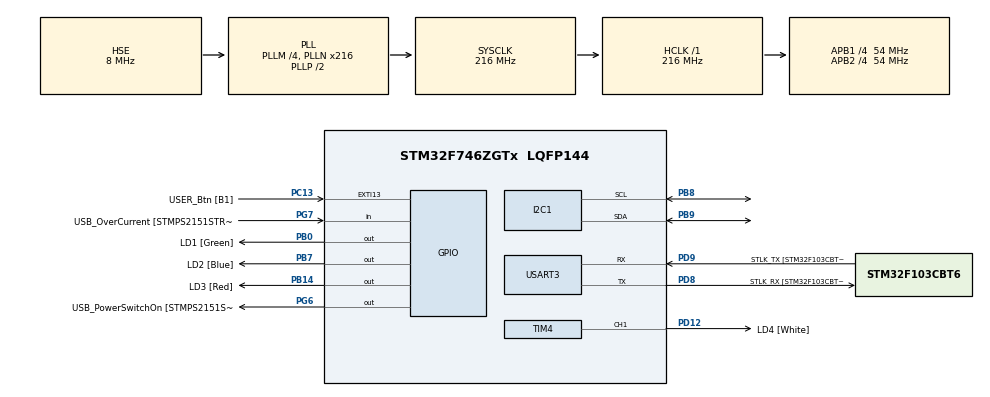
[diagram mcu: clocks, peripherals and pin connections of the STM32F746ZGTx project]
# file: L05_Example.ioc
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I2C1.Timing=0x20404768
Mcu.Family=STM32F7
Mcu.Name=STM32F746ZGTx
Mcu.Package=LQFP144
NVIC.PriorityGroup=NVIC_PRIORITYGROUP_4
NVIC.USART3_IRQn=true\:0\:0\:false\:false\:true\:true\:true\:true
PA1.GPIO_Label=RMII_REF_CLK [LAN8742A-CZ-TR_REFCLK0]
PA1.Signal=ETH_REF_CLK
PA10.GPIO_Label=USB_ID
PA10.Signal=USB_OTG_FS_ID
PA11.GPIO_Label=USB_DM
PA11.Signal=USB_OTG_FS_DM
PA12.GPIO_Label=USB_DP
PA12.Signal=USB_OTG_FS_DP
PA13.GPIO_Label=TMS
PA13.Mode=Serial_Wire
PA13.Signal=SYS_JTMS-SWDIO
PA14.GPIO_Label=TCK
PA14.Mode=Serial_Wire
PA14.Signal=SYS_JTCK-SWCLK
PA2.GPIO_Label=RMII_MDIO [LAN8742A-CZ-TR_MDIO]
PA2.Signal=ETH_MDIO
PA7.GPIO_Label=RMII_CRS_DV [LAN8742A-CZ-TR_CRS_DV]
PA7.Signal=ETH_CRS_DV
PA8.GPIO_Label=USB_SOF [TP1]
PA8.Signal=USB_OTG_FS_SOF
PA9.GPIO_Label=USB_VBUS
PA9.Signal=USB_OTG_FS_VBUS
PB0.GPIO_Label=LD1 [Green]
PB0.Signal=GPIO_Output
PB13.GPIO_Label=RMII_TXD1 [LAN8742A-CZ-TR_TXD1]
PB13.Signal=ETH_TXD1
PB14.GPIO_Label=LD3 [Red]
PB14.Signal=GPIO_Output
PB3.GPIO_Label=SW0
PB3.Signal=SYS_JTDO-SWO
PB7.GPIO_Label=LD2 [Blue]
PB7.Signal=GPIO_Output
PB8.Mode=I2C
PB8.Signal=I2C1_SCL
PB9.Mode=I2C
PB9.Signal=I2C1_SDA
PC1.GPIO_Label=RMII_MDC [LAN8742A-CZ-TR_MDC]
PC1.Signal=ETH_MDC
PC13.GPIO_Label=USER_Btn [B1]
PC13.Signal=GPXTI13
PC14/OSC32_IN.Mode=LSE-External-Oscillator
PC14/OSC32_IN.Signal=RCC_OSC32_IN
PC15/OSC32_OUT.Mode=LSE-External-Oscillator
PC15/OSC32_OUT.Signal=RCC_OSC32_OUT
PC4.GPIO_Label=RMII_RXD0 [LAN8742A-CZ-TR_RXD0]
PC4.Signal=ETH_RXD0
PC5.GPIO_Label=RMII_RXD1 [LAN8742A-CZ-TR_RXD1]
PC5.Signal=ETH_RXD1
PD12.GPIO_Label=LD4 [White]
PD12.Signal=S_TIM4_CH1
PD8.GPIO_Label=STLK_RX [STM32F103CBT6_PA3]
PD8.GPIO_PuPd=GPIO_PULLUP
PD8.Mode=Asynchronous
PD8.Signal=USART3_TX
PD9.GPIO_Label=STLK_TX [STM32F103CBT6_PA2]
PD9.GPIO_PuPd=GPIO_PULLUP
PD9.Mode=Asynchronous
PD9.Signal=USART3_RX
PG11.GPIO_Label=RMII_TX_EN [LAN8742A-CZ-TR_TXEN]
PG11.Signal=ETH_TX_EN
PG13.GPIO_Label=RMII_TXD0 [LAN8742A-CZ-TR_TXD0]
PG13.Signal=ETH_TXD0
PG6.GPIO_Label=USB_PowerSwitchOn [STMPS2151STR_EN]
PG6.Signal=GPIO_Output
PG7.GPIO_Label=USB_OverCurrent [STMPS2151STR_FAULT]
PG7.Signal=GPIO_Input
PH0/OSC_IN.GPIO_Label=MCO [STM32F103CBT6_PA8]
PH0/OSC_IN.Mode=HSE-External-Clock-Source
PH0/OSC_IN.Signal=RCC_OSC_IN
PH1/OSC_OUT.Mode=HSE-External-Clock-Source
PH1/OSC_OUT.Signal=RCC_OSC_OUT
ProjectManager.HeapSize=0x200
ProjectManager.StackSize=0x400
ProjectManager.TargetToolchain=STM32CubeIDE
RCC.48MHZClocksFreq_Value=24000000
RCC.AHBFreq_Value=216000000
RCC.APB1CLKDivider=RCC_HCLK_DIV4
RCC.APB1Freq_Value=54000000
RCC.APB1TimFreq_Value=108000000
RCC.APB2CLKDivider=RCC_HCLK_DIV4
RCC.APB2Freq_Value=54000000
RCC.APB2TimFreq_Value=108000000
RCC.CortexFreq_Value=216000000
RCC.HCLKFreq_Value=216000000
RCC.HSE_VALUE=8000000
RCC.HSI_VALUE=16000000
RCC.PLLM=4
RCC.PLLMUL=RCC_PLL_MUL9
RCC.PLLN=216
RCC.PLLQ=3
RCC.PLLSourceVirtual=RCC_PLLSOURCE_HSE
RCC.PRESCALERUSB=RCC_USBCLKSOURCE_PLL_DIV1_5
RCC.SYSCLKFreq_VALUE=216000000
RCC.SYSCLKSource=RCC_SYSCLKSOURCE_PLLCLK
RCC.SYSCLKSourceVirtual=RCC_SYSCLKSOURCE_PLLCLK
RCC.USBFreq_Value=144000000
RCC.VCOOutputFreq_Value=432000000
SH.S_TIM4_CH1.0=TIM4_CH1,PWM Generation1 CH1
TIM4.Channel-PWM\ Generation1\ CH1=TIM_CHANNEL_1
TIM4.Period=100 - 1
TIM4.Prescaler=108 - 1
USART3.VirtualMode-Asynchronous=VM_ASYNC
VP_TIM4_VS_ClockSourceINT.Mode=Internal
board=NUCLEO-F746ZG

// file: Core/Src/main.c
/* USER CODE BEGIN Header */
/**
  ******************************************************************************
  * @file           : main.c
  * @brief          : Main program body
  ******************************************************************************
  * @attention
  *
  * Copyright (c) 2025 STMicroelectronics.
  * All rights reserved.
  *
  * This software is licensed under terms that can be found in the LICENSE file
  * in the root directory of this software component.
  * If no LICENSE file comes with this software, it is provided AS-IS.
  *
  ******************************************************************************
  */
/* USER CODE END Header */
#include "main.h"
#include "i2c.h"
#include "tim.h"
#include "usart.h"
#include "gpio.h"

/* USER CODE BEGIN Includes */
#include <stdio.h>
#include <stdlib.h>
#include <string.h>
#include "bh1750_config.h"
#include "led_pwm_config.h"
/* USER CODE END Includes */

/* USER CODE BEGIN PV */
float Illuminance_lux = 0.0f;
unsigned int  Illuminance_mlux = 0;
unsigned int Delay_ms = 200;
char UART_Cmd[] = "X000";
unsigned int UART_CmdLen;
_Bool UART_SendMeasurement;
/* USER CODE END PV */

void SystemClock_Config(void);

/* USER CODE BEGIN 0 */
/**
 * @brief  Low-level implementation of the _write system call.
 *
 * This function redirects standard output (e.g., printf) to UART3.
 * It transmits data from the provided buffer over the UART interface.
 *
 * @param[in]  file File descriptor (ignored in this implementation).
 * @param[in]  ptr  Pointer to the data buffer to be transmitted.
 * @param[in]  len  Number of bytes to transmit.
 *
 * @retval Number of bytes transmitted on success.
 * @retval -1 on transmission error.
 *
 * @note This function is typically used when retargeting printf() to UART.
 *       It blocks until all bytes are sent (uses HAL_MAX_DELAY).
 */
int _write(int file, char *ptr, int len)
{
  return (HAL_UART_Transmit(&huart3, (uint8_t*)ptr, len, HAL_MAX_DELAY) == HAL_OK) ? len : -1;
}

/**
  * @brief  Rx Transfer completed callback.
  * @param  huart UART handle.
  * @retval None
  */
void HAL_UART_RxCpltCallback(UART_HandleTypeDef *huart)
{
  if(huart == &huart3)
  {
    unsigned long int TIM_PWM_DutyCycle_tmp = strtol(&UART_Cmd[1], NULL, 10);
    if(UART_Cmd[0] == 'D' || UART_Cmd[0] == 'd')
      LED_PWM_WriteDuty(&hld4, (float)TIM_PWM_DutyCycle_tmp);
    else if(strcmp(UART_Cmd, "READ") == 0)
      UART_SendMeasurement = 1;
    HAL_UART_Receive_IT(&huart3, (uint8_t*)UART_Cmd, UART_CmdLen);
  }
}
/* USER CODE END 0 */

int main(void)
{

  /* USER CODE BEGIN 1 */
  setvbuf(stdout, NULL, _IONBF, 0);
  /* USER CODE END 1 */

  /* MCU Configuration--------------------------------------------------------*/

  /* Reset of all peripherals, Initializes the Flash interface and the Systick. */
  HAL_Init();

  /* Configure the system clock */
  SystemClock_Config();

  /* Initialize all configured peripherals */
  MX_GPIO_Init();
  MX_I2C1_Init();
  MX_USART3_UART_Init();
  MX_TIM4_Init();
  /* USER CODE BEGIN 2 */
  BH1750_Init(&hbh1750);
  LED_PWM_Init(&hld4);
  UART_CmdLen = strlen(UART_Cmd);
  HAL_UART_Receive_IT(&huart3, (uint8_t*)UART_Cmd, UART_CmdLen);
  /* USER CODE END 2 */

  /* Infinite loop */
  /* USER CODE BEGIN WHILE */
  while (1)
  {
    Illuminance_lux = BH1750_ReadIlluminance_lux(&hbh1750);
    Illuminance_mlux = 1000 * Illuminance_lux;
    if(UART_SendMeasurement)
    {
      UART_SendMeasurement = 0;
      printf("{\"illuminance\":%5u.%03d}\r", Illuminance_mlux / 1000, Illuminance_mlux % 1000);
    }
    HAL_Delay(Delay_ms - 1);
    /* USER CODE END WHILE */

  }
}

void SystemClock_Config(void)
{
  RCC_OscInitTypeDef RCC_OscInitStruct = {0};
  RCC_ClkInitTypeDef RCC_ClkInitStruct = {0};

  /** Configure LSE Drive Capability
  */
  HAL_PWR_EnableBkUpAccess();

  /** Configure the main internal regulator output voltage
  */
  __HAL_RCC_PWR_CLK_ENABLE();
  __HAL_PWR_VOLTAGESCALING_CONFIG(PWR_REGULATOR_VOLTAGE_SCALE1);

  /** Initializes the RCC Oscillators according to the specified parameters
  * in the RCC_OscInitTypeDef structure.
  */
  RCC_OscInitStruct.OscillatorType = RCC_OSCILLATORTYPE_HSE;
  RCC_OscInitStruct.HSEState = RCC_HSE_BYPASS;
  RCC_OscInitStruct.PLL.PLLState = RCC_PLL_ON;
  RCC_OscInitStruct.PLL.PLLSource = RCC_PLLSOURCE_HSE;
  RCC_OscInitStruct.PLL.PLLM = 4;
  RCC_OscInitStruct.PLL.PLLN = 216;
  RCC_OscInitStruct.PLL.PLLP = RCC_PLLP_DIV2;
  RCC_OscInitStruct.PLL.PLLQ = 3;
  if (HAL_RCC_OscConfig(&RCC_OscInitStruct) != HAL_OK)
  {
    Error_Handler();
  }

  /** Activate the Over-Drive mode
  */
  if (HAL_PWREx_EnableOverDrive() != HAL_OK)
  {
    Error_Handler();
  }

  /** Initializes the CPU, AHB and APB buses clocks
  */
  RCC_ClkInitStruct.ClockType = RCC_CLOCKTYPE_HCLK|RCC_CLOCKTYPE_SYSCLK
                              |RCC_CLOCKTYPE_PCLK1|RCC_CLOCKTYPE_PCLK2;
  RCC_ClkInitStruct.SYSCLKSource = RCC_SYSCLKSOURCE_PLLCLK;
  RCC_ClkInitStruct.AHBCLKDivider = RCC_SYSCLK_DIV1;
  RCC_ClkInitStruct.APB1CLKDivider = RCC_HCLK_DIV4;
  RCC_ClkInitStruct.APB2CLKDivider = RCC_HCLK_DIV4;

  if (HAL_RCC_ClockConfig(&RCC_ClkInitStruct, FLASH_LATENCY_7) != HAL_OK)
  {
    Error_Handler();
  }
}

void Error_Handler(void)
{
  __disable_irq();
  while (1)
  {
  }
}
